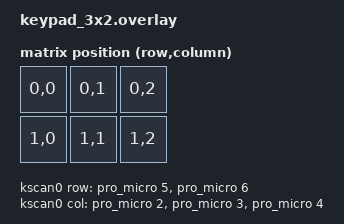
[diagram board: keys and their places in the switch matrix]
#include <dt-bindings/zmk/matrix_transform.h>
#include <physical_layouts.dtsi>

/ {
    chosen {
        zmk,kscan = &kscan0;
        zmk,physical-layout = &physical_layout0;
    };
    kscan0: kscan {
        compatible = "zmk,kscan-gpio-matrix";
        diode-direction = "col2row";
        wakeup-source;

        col-gpios
            = <&pro_micro 2 GPIO_ACTIVE_HIGH>   /* 017 */
            , <&pro_micro 3 GPIO_ACTIVE_HIGH>   /* 020 */
            , <&pro_micro 4 GPIO_ACTIVE_HIGH>   /* 022 */
            ;
        row-gpios
            = <&pro_micro 5 (GPIO_ACTIVE_HIGH | GPIO_PULL_DOWN)>   /* 024 */
            , <&pro_micro 6 (GPIO_ACTIVE_HIGH | GPIO_PULL_DOWN)>   /* 100 */
            ;
    };

    default_transform: keymap_transform_0 {
        compatible = "zmk,matrix-transform";
        columns = <3>;
        rows = <2>;
        map = <
            RC(0,0) RC(0,1) RC(0,2)
            RC(1,0) RC(1,1) RC(1,2)
        >;
    };

    physical_layout0: physical_layout_0 {
        compatible = "zmk,physical-layout";
        display-name = "Default";
        transform = <&default_transform>;
        kscan = <&kscan0>;

        keys  //                     w    h    x    y   rot  rx  ry
            = <&key_physical_attrs 100  100    0    0    0   0   0>
            , <&key_physical_attrs 100  100  100    0    0   0   0>
            , <&key_physical_attrs 100  100  200    0    0   0   0>
            , <&key_physical_attrs 100  100    0  100    0   0   0>
            , <&key_physical_attrs 100  100  100  100    0   0   0>
            , <&key_physical_attrs 100  100  200  100    0   0   0>
            ;
    };
};
